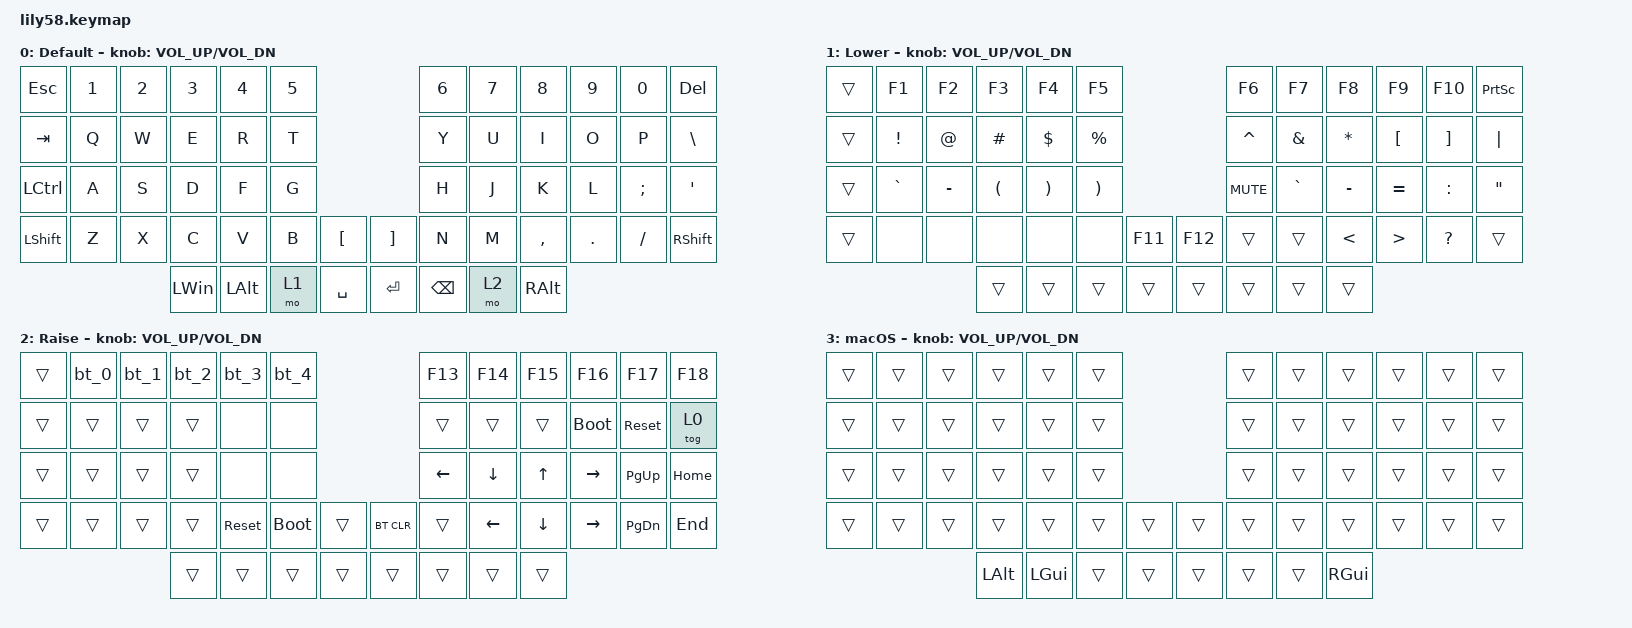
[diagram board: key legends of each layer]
/*
 * Copyright (c) 2020 The ZMK Contributors
 *
 * SPDX-License-Identifier: MIT
 */

#include <behaviors.dtsi>
#include <dt-bindings/zmk/bt.h>
#include <dt-bindings/zmk/keys.h>

#define DEFAULT 0
#define LOWER 1
#define RAISE 2
#define MAC 3

/ {
    macros {
        bt_0: bt_profile_0 {
            compatible = "zmk,behavior-macro";
            #binding-cells = <0>;
            bindings = <&bt BT_SEL 0 &tog 3>;  // Toggle OFF MAC layer when switching to profile 0
        };

        bt_1: bt_profile_1 {
            compatible = "zmk,behavior-macro";
            #binding-cells = <0>;
            bindings = <&bt BT_SEL 1 &tog 3>;  // Toggle ON MAC layer when switching to profile 1
        };

        bt_2: bt_profile_2 {
            compatible = "zmk,behavior-macro";
            #binding-cells = <0>;
            bindings = <&bt BT_SEL 2 &tog 3>;  // Toggle OFF MAC layer when switching to profile 2
        };

        bt_3: bt_profile_3 {
            compatible = "zmk,behavior-macro";
            #binding-cells = <0>;
            bindings = <&bt BT_SEL 3 &tog 3>;  // Toggle OFF MAC layer when switching to profile 3
        };

        bt_4: bt_profile_4 {
            compatible = "zmk,behavior-macro";
            #binding-cells = <0>;
            bindings = <&bt BT_SEL 4 &tog 3>;  // Toggle OFF MAC layer when switching to profile 4
        };
    };

    keymap {
        compatible = "zmk,keymap";

        default_layer {
            // ------------------------------------------------------------------------------------------------------------
            // |  ESC  |  1  |  2  |  3   |  4   |  5   |                   |  6   |  7    |  8    |  9   |   0   |   `   |
            // |  TAB  |  Q  |  W  |  E   |  R   |  T   |                   |  Y   |  U    |  I    |  O   |   P   |   -   |
            // |  CTRL |  A  |  S  |  D   |  F   |  G   |                   |  H   |  J    |  K    |  L   |   ;   |   '   |
            // | SHIFT |  Z  |  X  |  C   |  V   |  B   |   "["  |  |  "]"  |  N   |  M    |  ,    |  .   |   /   | SHIFT |
            //                     | ALT  | GUI  | LOWER|  SPACE |  | ENTER | RAISE| BSPC  | GUI   |

            display-name = "Default";
            bindings = <
&kp ESC         &kp N1  &kp N2  &kp N3        &kp N4        &kp N5                                         &kp N6         &kp N7  &kp N8         &kp N9   &kp N0    &kp DELETE
&kp TAB         &kp Q   &kp W   &kp E         &kp R         &kp T                                          &kp Y          &kp U   &kp I          &kp O    &kp P     &kp BACKSLASH
&kp LCTRL       &kp A   &kp S   &kp D         &kp F         &kp G                                          &kp H          &kp J   &kp K          &kp L    &kp SEMI  &kp SQT
&kp LEFT_SHIFT  &kp Z   &kp X   &kp C         &kp V         &kp B   &kp LEFT_BRACKET    &kp RIGHT_BRACKET  &kp N          &kp M   &kp COMMA      &kp DOT  &kp FSLH  &kp RIGHT_SHIFT
                                &kp LEFT_WIN  &kp LEFT_ALT  &mo 1   &kp SPACE           &kp ENTER          &kp BACKSPACE  &mo 2   &kp RIGHT_ALT
            >;

            sensor-bindings = <&inc_dec_kp C_VOL_UP C_VOL_DN>;
        };

        layer_1 {
            // ------------------------------------------------------------------------------------------------------------
            // |       |     |     |      |      |      |                   |      |       |       |      |       |       |
            // |   `   |  1  |  2  |  3   |  4   |  5   |                   |  6   |   7   |   8   |  9   |   0   |       |
            // |   F1  |  F2 |  F3 |  F4  |  F5  |  F6  |                   |      |   <-  |   v   |  ^   |  ->   |       |
            // |   F7  |  F8 |  F9 |  F10 |  F11 |  F12 |        |  |       |  +   |   -   |   =   |  [   |   ]   |   \   |
            //                     |      |      |      |        |  |       |      |       |       |

            display-name = "Lower";
            bindings = <
&trans  &kp F1           &kp F2       &kp F3                &kp F4                 &kp F5                                     &kp F6      &kp F7         &kp F8         &kp F9            &kp F10            &kp PSCRN
&trans  &kp EXCLAMATION  &kp AT_SIGN  &kp HASH              &kp DOLLAR             &kp PERCENT                                &kp CARET   &kp AMPERSAND  &kp ASTERISK   &kp LEFT_BRACKET  &kp RIGHT_BRACKET  &kp PIPE
&trans  &kp GRAVE        &kp MINUS    &kp LEFT_PARENTHESIS  &kp RIGHT_PARENTHESIS  &kp RIGHT_PARENTHESIS                      &kp K_MUTE  &kp GRAVE      &kp MINUS      &kp EQUAL         &kp COLON          &kp DQT
&trans  &none            &none        &none                 &none                  &none                  &kp F11    &kp F12  &trans      &trans         &kp LESS_THAN  &kp GREATER_THAN  &kp QUESTION       &trans
                                      &trans                &trans                 &trans                 &trans     &trans   &trans      &trans         &trans
            >;

            sensor-bindings = <&inc_dec_kp C_VOL_UP C_VOL_DN>;
        };

        layer_2 {
            // ------------------------------------------------------------------------------------------------------------
            // | BTCLR | BT1 | BT2 |  BT3 |  BT4 |  BT5 |                   |      |       |       |      |       |       |
            // |  F1   |  F2 |  F3 |  F4  |  F5  |  F6  |                   |  F7  |  F8   |  F9   |  F10 |  F11  |  F12  |
            // |   `   |  !  |  @  |  #   |  $   |  %   |                   |  ^   |  &    |  *    |  (   |   )   |   ~   |
            // |       |     |     |      |      |      |        |  |       |      |  _    |  +    |  {   |   }   |  "|"  |
            //                     |      |      |      |        |  |       |      |       |       |

            display-name = "Raise";
            bindings = <
&trans  &bt_0        &bt_1        &bt_2        &bt_3        &bt_4                                &kp F13   &kp F14   &kp F15       &kp F16    &kp F17    &kp F18
&trans  &trans       &trans       &trans       &none        &none                                &trans    &trans    &trans        &bootloader &sys_reset &tog 0
&trans  &trans       &trans       &trans       &none        &none                                &kp LEFT  &kp DOWN  &kp UP_ARROW  &kp RIGHT  &kp PG_UP  &kp HOME
&trans  &trans       &trans       &trans       &sys_reset   &bootloader   &trans       &bt BT_CLR  &trans    &kp LEFT  &kp DOWN      &kp RIGHT  &kp PG_DN  &kp END
                                  &trans       &trans       &trans        &trans       &trans      &trans    &trans    &trans
            >;

            sensor-bindings = <&inc_dec_kp C_VOL_UP C_VOL_DN>;
        };

        layer_3 {
            // ------------------------------------------------------------------------------------------------------------
            // |       |     |     |      |      |      |                   |      |       |       |      |       |       |
            // |       |     |     |      |      |      |                   |      |       |       |      |       |       |
            // |       |     |     |      |      |      |                   |      |       |       |      |       |       |
            // |       |     |     |      |      |      |        |  |       |      |       |       |      |       |       |
            //                     | CMD  | OPT  |      |        |  |       |      |       | OPT   |

            display-name = "macOS";
            bindings = <
&trans    &trans  &trans  &trans       &trans       &trans                                       &trans       &trans  &trans       &trans   &trans    &trans
&trans    &trans  &trans  &trans       &trans       &trans                                       &trans       &trans  &trans       &trans   &trans    &trans
&trans    &trans  &trans  &trans       &trans       &trans                                       &trans       &trans  &trans       &trans   &trans    &trans
&trans    &trans  &trans  &trans       &trans       &trans  &trans                  &trans       &trans       &trans  &trans       &trans   &trans    &trans
                          &kp LEFT_ALT &kp LEFT_GUI &trans  &trans                  &trans       &trans       &trans  &kp RIGHT_GUI
            >;

            sensor-bindings = <&inc_dec_kp C_VOL_UP C_VOL_DN>;
        };
    };
};
